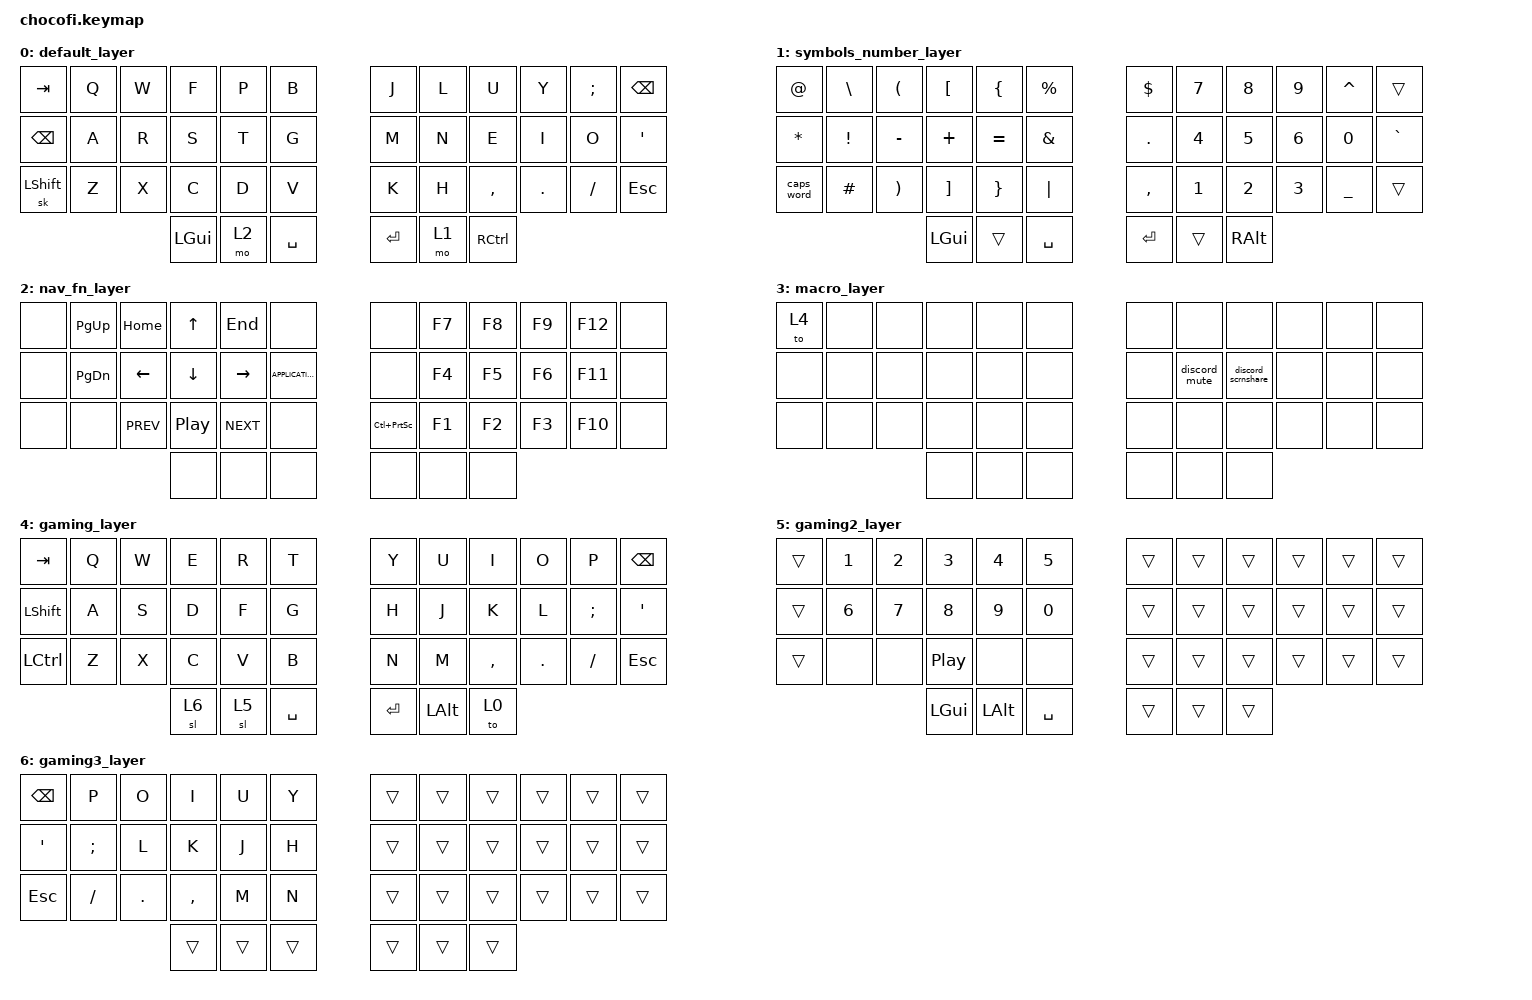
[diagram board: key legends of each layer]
/*
 * Copyright (c) 2020 The ZMK Contributors
 *
 * SPDX-License-Identifier: MIT
 */

#include <behaviors.dtsi>
#include <dt-bindings/zmk/keys.h>

/ {
    behaviors {
        // https://zmk.dev/docs/behaviors/hold-tap#example-use-cases
        // https://github.com/qmk/qmk_firmware/blob/master/docs/tap_hold.md#default-mode
        hm: homerow_mods {
            compatible = "zmk,behavior-hold-tap";
            #binding-cells = <2>;
            tapping-term-ms = <150>;
            quick-tap-ms = <0>;
            flavor = "tap-preferred";
            bindings = <&kp>, <&kp>;
        };

        uml_a: uml_a {
            compatible = "zmk,behavior-mod-morph";
            label = "UML_A";
            bindings = <&kp RA(A)>, <&kp RA(RC(Q))>;

            #binding-cells = <0>;
            mods = <(MOD_RCTL)>;
        };

        uml_u: uml_u {
            compatible = "zmk,behavior-mod-morph";
            label = "UML_U";
            bindings = <&kp LA(U)>, <&kp LA(LC(Y))>;

            #binding-cells = <0>;
            mods = <(MOD_LCTL)>;
        };

        uml_o: uml_o {
            compatible = "zmk,behavior-mod-morph";
            label = "UML_O";
            bindings = <&kp LA(O)>, <&kp LA(LC(SEMI))>;

            #binding-cells = <0>;
            mods = <(MOD_LCTL)>;
        };
    };

    conditional_layers {
        compatible = "zmk,conditional-layers";

        macro_layer {
            if-layers = <1 2>;
            then-layer = <3>;
        };
    };

    macros {
        discord_mute: discord_mute {
            compatible = "zmk,behavior-macro";
            #binding-cells = <0>;
            bindings = <&kp RS(F24)>;
            label = "DISCORD_MUTE";
        };

        discord_scrnshare: discord_scrnshare {
            compatible = "zmk,behavior-macro";
            #binding-cells = <0>;
            bindings = <&kp RC(F24)>;
            label = "DISCORD_SCRNSHARE";
        };
    };

    keymap {
        compatible = "zmk,keymap";

        default_layer {
            // -----------------------------------------------------------------------------------------
            // |  TAB |  Q  |  W  |  F  |  P  |  B  |   |  J  |  L   |  U  |  Y  |  ;  | BKSP |
            // | CTRL |  A  |  R  |  S  |  T  |  G  |   |  M  |  N   |  E  |  I  |  O  |  '   |
            // | SHFT |  Z  |  X  |  C  |  D  |  V  |   |  K  |  H   |  ,  |  .  |  /  | ESC  |
            //                    | GUI | LWR | SPC |   | ENT | RSE  | ALT |

            bindings = <
&kp TAB    &kp Q  &kp W  &kp F  &kp P  &kp B        &kp J    &kp L        &kp U        &kp Y       &kp SEMI    &kp BSPC
// &kp BSPC  &hm LGUI A  &hm LALT R  &hm LSHFT S  &hm LCTRL T  &kp G        &kp M    &hm RCTRL N  &hm RSHFT E  &hm RALT I  &hm RGUI O  &kp SQT
&kp BSPC   &kp A  &kp R  &kp S  &kp T  &kp G        &kp M    &kp N  &kp E  &kp I  &kp O  &kp SQT
&sk LSHFT  &kp Z  &kp X  &kp C  &kp D  &kp V        &kp K    &kp H        &kp COMMA    &kp DOT     &kp FSLH    &kp ESC
                                  &kp LGUI     &mo 2        &kp SPACE    &kp RET  &mo 1        &kp RCTRL

            >;
        };

        symbols_number_layer {
            // -----------------------------------------------------------------------------------------
            // |  @  |  \  |  (  |  {  |  [  |  %  |                        |  $  |  7  |  8  |  9  |  ^  |     |
            // |  *  |  !  |  +  |  -  |  =  |  &  |                        |  .  |  4  |  5  |  6  |  0  |  ´  |
            // |     |  #  |  )  |  }  |  ]  | "|" |                        |  ,  |  1  |  2  |  3  |  _  |     |
            //                   | GUI |     | SPC |                        | ENT |     | ALT |

            bindings = <
&kp AT      &kp BSLH  &kp LPAR   &kp LBKT  &kp LBRC   &kp PRCNT    &kp DLLR   &kp N7  &kp N8    &kp N9  &kp CARET  &trans
&kp STAR    &kp EXCL  &kp MINUS  &kp PLUS  &kp EQUAL  &kp AMPS     &kp DOT    &kp N4  &kp N5    &kp N6  &kp N0     &kp GRAVE
&caps_word  &kp HASH  &kp RPAR   &kp RBKT  &kp RBRC   &kp PIPE     &kp COMMA  &kp N1  &kp N2    &kp N3  &kp UNDER  &trans
                                 &kp LGUI  &trans     &kp SPACE    &kp RET    &trans  &kp RALT
            >;
        };

        nav_fn_layer {
            bindings = <
&none  &kp PG_UP  &kp HOME    &kp UP            &kp END     &none                &none                &kp F7  &kp F8  &kp F9  &kp F12  &none
&none  &kp PG_DN  &kp LEFT    &kp DOWN          &kp RIGHT   &kp K_APPLICATION    &none                &kp F4  &kp F5  &kp F6  &kp F11  &none
&none  &none      &kp C_PREV  &kp C_PLAY_PAUSE  &kp C_NEXT  &none                &kp LC(PRINTSCREEN)  &kp F1  &kp F2  &kp F3  &kp F10  &none
                              &none             &none       &none                &none                &none   &none
            >;
        };

        macro_layer {
            bindings = <
&to 4  &none  &none  &none  &none  &none    &none  &none          &none               &none  &none  &none
&none  &none  &none  &none  &none  &none    &none  &discord_mute  &discord_scrnshare  &none  &none  &none
&none  &none  &none  &none  &none  &none    &none  &none          &none               &none  &none  &none
                     &none  &none  &none    &none  &none          &none
            >;
        };

        gaming_layer {
            // -----------------------------------------------------------------------------------------
            // |  TAB |  Q  |  W  |  E  |  R  |  T  |   |  Y  |  U   |  I  |  O  |  P  | BKSP |
            // | CTRL |  A  |  S  |  D  |  F  |  G  |   |  H  |  J   |  K  |  L  |  ;  |  '   |
            // | SHFT |  Z  |  X  |  C  |  V  |  B  |   |  N  |  M   |  ,  |  .  |  /  | ESC  |
            //                    | GUI | LWR | SPC |   | ENT | RSE  | ALT |

            bindings = <
&kp TAB    &kp Q  &kp W  &kp E  &kp R  &kp T        &kp Y    &kp U    &kp I      &kp O    &kp P     &kp BSPC
&kp LSHFT  &kp A  &kp S  &kp D  &kp F  &kp G        &kp H    &kp J    &kp K      &kp L    &kp SEMI  &kp SQT
&kp LCTRL  &kp Z  &kp X  &kp C  &kp V  &kp B        &kp N    &kp M    &kp COMMA  &kp DOT  &kp FSLH  &kp ESC
                         &sl 6  &sl 5  &kp SPACE    &kp RET  &kp LALT &to 0
            >;
        };

        gaming2_layer {
            // -----------------------------------------------------------------------------------------
            // |     |  6  |  7  |   8    |  9  |  0  |        |   |   |   |   |   |   |
            // |     |  1  |  2  |   3    |  4  |  5  |        |   |   |   |   |   |   |
            // |     |     |     | "Play" |     |     |        |   |   |   |   |   |   |
            //                   |  GUI   |     | SPC |        |   |   |   |

            bindings = <
&trans  &kp N1  &kp N2  &kp N3            &kp N4   &kp N5       &trans  &trans  &trans  &trans  &trans  &trans
&trans  &kp N6  &kp N7  &kp N8            &kp N9   &kp N0       &trans  &trans  &trans  &trans  &trans  &trans
&trans  &none   &none   &kp C_PLAY_PAUSE  &none    &none        &trans  &trans  &trans  &trans  &trans  &trans
                        &kp LGUI          &kp LALT &kp SPACE    &trans  &trans  &trans
            >;
        };

        gaming3_layer {
            bindings = <
&kp BSPC  &kp P     &kp O    &kp I      &kp U  &kp Y     &trans  &trans  &trans  &trans  &trans  &trans
&kp SQT   &kp SEMI  &kp L    &kp K      &kp J  &kp H     &trans  &trans  &trans  &trans  &trans  &trans
&kp ESC   &kp FSLH  &kp DOT  &kp COMMA  &kp M  &kp N     &trans  &trans  &trans  &trans  &trans  &trans
                           &trans     &trans   &trans    &trans  &trans  &trans
            >;
        };
    };
};
